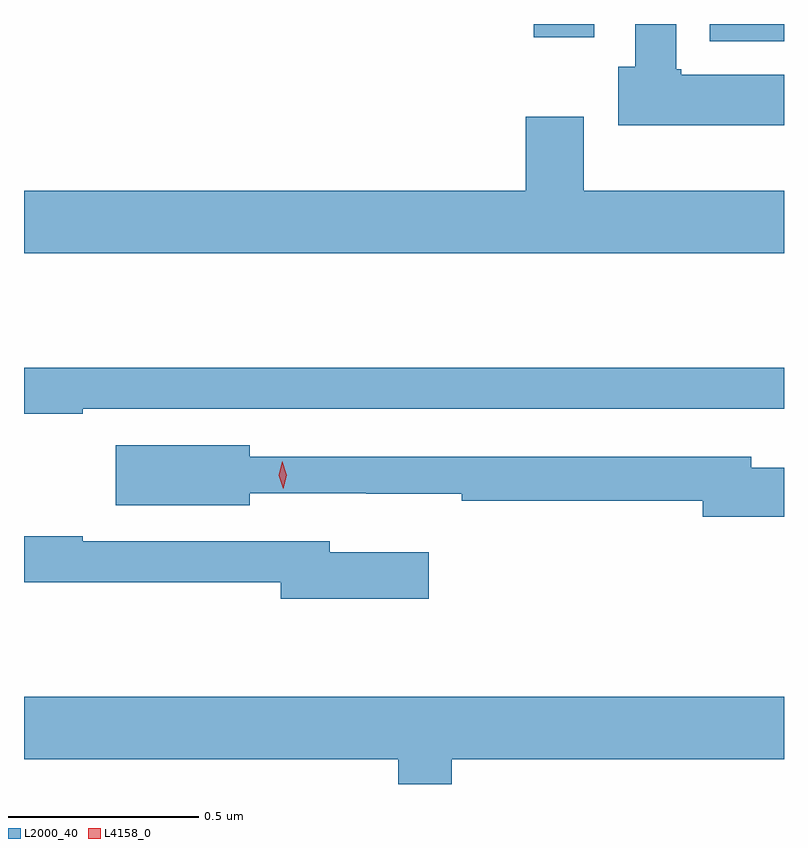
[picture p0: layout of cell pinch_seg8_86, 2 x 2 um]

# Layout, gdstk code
import gdstk
lib = gdstk.Library(unit=1e-6, precision=1e-09)
def R(c, l, rs):  # rectangles x0, y0, x1, y1
    for r in rs: c.add(gdstk.rectangle(r[:2], r[2:], *l))
def P(c, l, *ps):  # polygons
    for p in ps: c.add(gdstk.Polygon(p, *l))
L2000_40 = (2000, 40)
L4158_0 = (4158, 0)

pinch_seg8_86 = lib.new_cell('pinch_seg8_86')
R(pinch_seg8_86, L2000_40, [(1019.618,1110.398,1019.814,1110.443), (1019.156,1110.408,1019.314,1110.443)])
P(pinch_seg8_86, L2000_40, [(1019.814,1110.31),(1019.544,1110.31),(1019.544,1110.324),(1019.53,1110.324),(1019.53,1110.443),(1019.423,1110.443),(1019.423,1110.33),(1019.378,1110.33),(1019.378,1110.176),(1019.814,1110.176)],
  [(1019.814,1110.004),(1019.287,1110.004),(1019.287,1110.199),(1019.135,1110.199),(1019.135,1110.004),(1017.814,1110.004),(1017.814,1109.84),(1019.814,1109.84)],
  [(1017.968,1109.43),(1019.814,1109.43),(1019.814,1109.539),(1017.814,1109.539),(1017.814,1109.418),(1017.968,1109.418)],
  [(1019.814,1109.275),(1019.728,1109.275),(1019.728,1109.304),(1018.408,1109.304),(1018.408,1109.335),(1018.056,1109.335),(1018.056,1109.177),(1018.408,1109.177),(1018.408,1109.208),(1018.714,1109.208),(1018.714,1109.207),(1018.966,1109.207),(1018.966,1109.188),(1019.6,1109.188),(1019.6,1109.146),(1019.814,1109.146)],
  [(1018.879,1109.053),(1018.618,1109.053),(1018.618,1109.082),(1017.968,1109.082),(1017.968,1109.095),(1017.814,1109.095),(1017.814,1108.974),(1018.49,1108.974),(1018.49,1108.931),(1018.879,1108.931)],
  [(1018.939,1108.508),(1019.814,1108.508),(1019.814,1108.672),(1017.814,1108.672),(1017.814,1108.508),(1018.799,1108.508),(1018.799,1108.443),(1018.939,1108.443)])
P(pinch_seg8_86, L4158_0, [(1018.496,1109.22),(1018.496,1109.22),(1018.485,1109.255),(1018.494,1109.292),(1018.494,1109.292),(1018.494,1109.292),(1018.505,1109.256),(1018.496,1109.22)])

lib.write_gds('pinch_seg8_86.gds')
